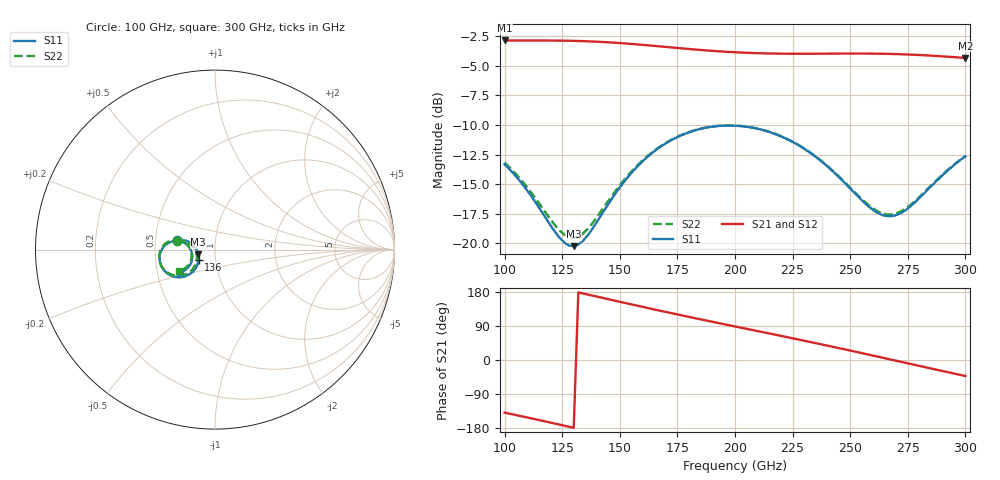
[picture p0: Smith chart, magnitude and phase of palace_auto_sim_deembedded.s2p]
! Created with skrf 1.11.0 (http://scikit-rf.org).
# GHz S DB R 50.0
!freq dBS11 angS11 dBS21 angS21 dBS12 angS12 dBS22 angS22
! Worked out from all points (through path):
!   101 points, 100 GHz to 300 GHz, reference 50 ohm
!   highest |S21| = -2.85 dB at 100 GHz (marker M1); lowest = -4.3 dB at 300 GHz (marker M2)
!   group delay of S21, straight-line fit = 3.63 ps
!   lowest |S11| = -20.2 dB at 130 GHz (marker M3), VSWR 1.22, Z = 41.4 - j2.1 ohm
!   |S11| at or under -10 dB: start of sweep to end of sweep
!   |S22| runs from -19.5 to -10.0 dB; largest |S21 - S12| = 7.1e-16
!   S11 on the Smith chart (normalised r, x): 100 GHz: 0.65, +0.07; 136 GHz: 0.83, -0.09; 300 GHz: 0.65, -0.17
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100  -13.32 165.8  -2.85 -138.9  -2.85 -138.9  -13.17 166.7
108  -15.07 163.0  -2.86 -149.3  -2.86 -149.3  -14.84 164.1
116  -17.31 165.4  -2.86 -159.9  -2.86 -159.9  -16.92 166.6
124  -19.57 178.0  -2.87 -170.7  -2.87 -170.7  -18.95 178.3
130  -20.25 -165.0  -2.89 -178.9  -2.89 -178.9  -19.55 -166.6
134  -19.80 -153.4  -2.91 175.6  -2.91 175.6  -19.18 -156.1
136  -19.35 -148.5  -2.92 172.8  -2.92 172.8  -18.80 -151.7
150  -15.28 -135.1  -3.07 153.6  -3.07 153.6  -15.10 -138.4
158  -13.43 -137.1  -3.19 142.7  -3.19 142.7  -13.34 -140.0
168  -11.80 -143.1  -3.36 129.4  -3.36 129.4  -11.75 -145.7
176  -10.94 -149.2  -3.51 118.9  -3.51 118.9  -10.90 -151.6
184  -10.38 -155.7  -3.64 108.7  -3.64 108.7  -10.36 -157.9
200  -10.06 -168.9  -3.85 88.6  -3.85 88.6  -10.05 -170.9
216  -10.66 178.8  -3.96 68.6  -3.96 68.6  -10.65 177.0
234  -12.54 168.5  -3.98 45.8  -3.98 45.8  -12.51 166.8
244  -14.20 166.7  -3.96 32.8  -3.96 32.8  -14.15 165.1
252  -15.78 169.6  -3.96 22.2  -3.96 22.2  -15.69 168.0
262  -17.45 -178.5  -3.97 8.8  -3.97 8.8  -17.31 179.6
268  -17.71 -167.7  -4.00 0.7  -4.00 0.7  -17.56 -169.9
274  -17.21 -157.4  -4.03 -7.4  -4.03 -7.4  -17.08 -159.9
284  -15.41 -147.4  -4.12 -20.9  -4.12 -20.9  -15.33 -150.1
300  -12.65 -147.3  -4.33 -42.2  -4.33 -42.2  -12.62 -150.0
